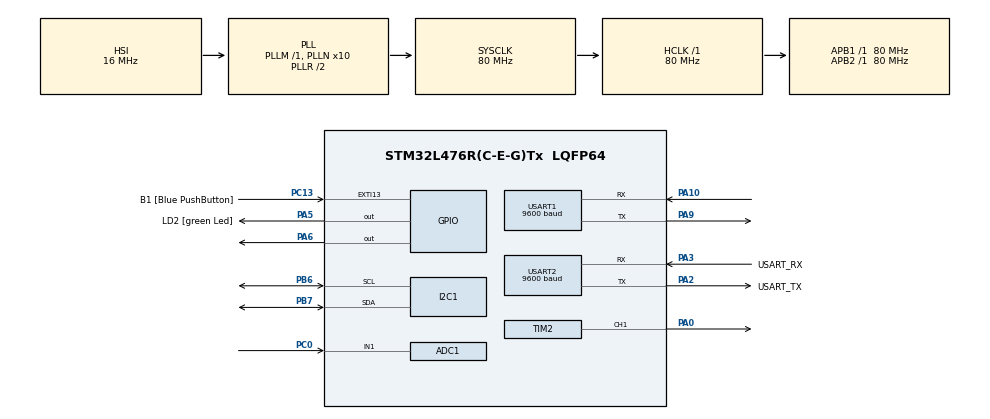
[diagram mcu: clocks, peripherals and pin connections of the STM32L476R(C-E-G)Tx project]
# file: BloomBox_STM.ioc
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ADC1.Channel-0\#ChannelRegularConversion=ADC_CHANNEL_1
ADC1.NbrOfConversionFlag=1
ADC1.OffsetNumber-0\#ChannelRegularConversion=ADC_OFFSET_NONE
ADC1.Rank-0\#ChannelRegularConversion=1
ADC1.SamplingTime-0\#ChannelRegularConversion=ADC_SAMPLETIME_2CYCLES_5
ADC1.master=1
Dma.Request0=TIM2_CH1
Dma.TIM2_CH1.0.Direction=DMA_MEMORY_TO_PERIPH
Dma.TIM2_CH1.0.Instance=DMA1_Channel5
Dma.TIM2_CH1.0.MemDataAlignment=DMA_MDATAALIGN_HALFWORD
Dma.TIM2_CH1.0.MemInc=DMA_MINC_ENABLE
Dma.TIM2_CH1.0.Mode=DMA_NORMAL
Dma.TIM2_CH1.0.PeriphDataAlignment=DMA_PDATAALIGN_WORD
Dma.TIM2_CH1.0.PeriphInc=DMA_PINC_DISABLE
Dma.TIM2_CH1.0.Priority=DMA_PRIORITY_LOW
I2C1.Timing=0x10909CEC
Mcu.Family=STM32L4
Mcu.Name=STM32L476R(C-E-G)Tx
Mcu.Package=LQFP64
NVIC.DMA1_Channel5_IRQn=true\:1\:0\:true\:false\:true\:false\:true
NVIC.PriorityGroup=NVIC_PRIORITYGROUP_4
NVIC.USART1_IRQn=true\:1\:0\:true\:false\:true\:true\:true
NVIC.USART2_IRQn=true\:1\:0\:true\:false\:true\:true\:true
PA0.Signal=S_TIM2_CH1
PA10.Mode=Asynchronous
PA10.Signal=USART1_RX
PA13\ (JTMS-SWDIO).GPIO_Label=TMS
PA13\ (JTMS-SWDIO).Mode=Serial_Wire
PA13\ (JTMS-SWDIO).Signal=SYS_JTMS-SWDIO
PA14\ (JTCK-SWCLK).GPIO_Label=TCK
PA14\ (JTCK-SWCLK).Mode=Serial_Wire
PA14\ (JTCK-SWCLK).Signal=SYS_JTCK-SWCLK
PA2.GPIO_Label=USART_TX
PA2.GPIO_Mode=GPIO_MODE_AF_PP
PA2.GPIO_PuPd=GPIO_NOPULL
PA2.GPIO_Speed=GPIO_SPEED_FREQ_VERY_HIGH
PA2.Mode=Asynchronous
PA2.Signal=USART2_TX
PA3.GPIO_Label=USART_RX
PA3.GPIO_Mode=GPIO_MODE_AF_PP
PA3.GPIO_PuPd=GPIO_NOPULL
PA3.GPIO_Speed=GPIO_SPEED_FREQ_VERY_HIGH
PA3.Mode=Asynchronous
PA3.Signal=USART2_RX
PA5.GPIO_Label=LD2 [green Led]
PA5.GPIO_ModeDefaultOutputPP=GPIO_MODE_OUTPUT_PP
PA5.GPIO_PuPd=GPIO_NOPULL
PA5.GPIO_Speed=GPIO_SPEED_FREQ_LOW
PA5.Signal=GPIO_Output
PA6.Signal=GPIO_Output
PA9.Mode=Asynchronous
PA9.Signal=USART1_TX
PB3\ (JTDO-TRACESWO).GPIO_Label=SWO
PB3\ (JTDO-TRACESWO).Signal=SYS_JTDO-SWO
PB6.Mode=I2C
PB6.Signal=I2C1_SCL
PB7.Mode=I2C
PB7.Signal=I2C1_SDA
PC0.Signal=ADCx_IN1
PC13.GPIO_Label=B1 [Blue PushButton]
PC13.GPIO_ModeDefaultEXTI=GPIO_MODE_IT_FALLING
PC13.GPIO_PuPd=GPIO_NOPULL
PC13.Signal=GPXTI13
PC14-OSC32_IN\ (PC14).Mode=LSE-External-Oscillator
PC14-OSC32_IN\ (PC14).Signal=RCC_OSC32_IN
PC15-OSC32_OUT\ (PC15).Mode=LSE-External-Oscillator
PC15-OSC32_OUT\ (PC15).Signal=RCC_OSC32_OUT
PH0-OSC_IN\ (PH0).Signal=RCC_OSC_IN
PH1-OSC_OUT\ (PH1).Signal=RCC_OSC_OUT
ProjectManager.HeapSize=0x200
ProjectManager.StackSize=0x400
ProjectManager.TargetToolchain=STM32CubeIDE
RCC.ADCFreq_Value=64000000
RCC.AHBFreq_Value=80000000
RCC.APB1Freq_Value=80000000
RCC.APB1TimFreq_Value=80000000
RCC.APB2Freq_Value=80000000
RCC.APB2TimFreq_Value=80000000
RCC.CortexFreq_Value=80000000
RCC.HCLKFreq_Value=80000000
RCC.HSE_VALUE=8000000
RCC.HSI_VALUE=16000000
RCC.MSI_VALUE=4000000
RCC.PLLN=10
RCC.PLLSourceVirtual=RCC_PLLSOURCE_HSI
RCC.PREFETCH_ENABLE=1
RCC.SYSCLKFreq_VALUE=80000000
RCC.SYSCLKSource=RCC_SYSCLKSOURCE_PLLCLK
RCC.USBFreq_Value=64000000
RCC.VCOOutputFreq_Value=160000000
SH.ADCx_IN1.0=ADC1_IN1,IN1-Single-Ended
SH.S_TIM2_CH1.0=TIM2_CH1,PWM Generation1 CH1
TIM2.Channel-PWM\ Generation1\ CH1=TIM_CHANNEL_1
TIM2.Period=79
USART1.BaudRate=9600
USART1.VirtualMode-Asynchronous=VM_ASYNC
USART2.BaudRate=9600
USART2.VirtualMode-Asynchronous=VM_ASYNC
VP_TIM2_VS_ClockSourceINT.Mode=Internal
board=NUCLEO-L476RG

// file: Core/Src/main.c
/* USER CODE BEGIN Header */
/**
  ******************************************************************************
  * @file           : main.c
  * @brief          : Main program body
  ******************************************************************************
  * @attention
  *
  * Copyright (c) 2022 STMicroelectronics.
  * All rights reserved.
  *
  * This software is licensed under terms that can be found in the LICENSE file
  * in the root directory of this software component.
  * If no LICENSE file comes with this software, it is provided AS-IS.
  *
  ******************************************************************************
  */
/* USER CODE END Header */
#include "main.h"

/* USER CODE BEGIN Includes */
//#include "sk6812.h"
#include <math.h>
#include "TSL2591.h"
/* USER CODE END Includes */

/* USER CODE BEGIN PD */
//#define MAX_LED 150 //actual max
#define MAX_LED 100
#define USE_BRIGHTNESS 1

/* USER CODE END PD */

ADC_HandleTypeDef hadc1;

I2C_HandleTypeDef hi2c1;

TIM_HandleTypeDef htim2;
DMA_HandleTypeDef hdma_tim2_ch1;

UART_HandleTypeDef huart1;
UART_HandleTypeDef huart2;

/* USER CODE BEGIN PV */
volatile int datasentflag = 0;
uint8_t LED_Data[MAX_LED][4];
uint8_t LED_Mod[MAX_LED][4];  // for brightness
uint8_t receive_word[5] = {0, 0, 0, 0, 0};
uint8_t send_word[5] = {0, 0, 0, 0, 0};
uint8_t empty_word[5] = {0, 0, 0, 0, 0};
uint8_t done_word[5] = "DONE\0";
uint32_t brightness = 0;
uint32_t new_brightness = 0;
uint32_t raw_moist = 0;
uint32_t raw_lux = 0;
uint8_t auto_brightness_flag = 1;
/* USER CODE END PV */

void SystemClock_Config(void);
static void MX_GPIO_Init(void);
static void MX_USART1_UART_Init(void);
static void MX_USART2_UART_Init(void);
static void MX_DMA_Init(void);
static void MX_TIM2_Init(void);
static void MX_ADC1_Init(void);
static void MX_I2C1_Init(void);

/* USER CODE BEGIN 0 */
void Set_LED (int LEDnum, int Red, int Green, int Blue)
{
	LED_Data[LEDnum][0] = LEDnum;
	LED_Data[LEDnum][1] = Green;
	LED_Data[LEDnum][2] = Red;
	LED_Data[LEDnum][3] = Blue;
}

#define PI 3.14159265

void Set_Brightness (int brightness)  // 0-45
{
#if USE_BRIGHTNESS

	if (brightness > 45) brightness = 45;
	for (int i=0; i<MAX_LED; i++)
	{
		LED_Mod[i][0] = LED_Data[i][0];
		for (int j=1; j<4; j++)
		{
			float angle = 90-brightness;  // in degrees
			angle = angle*PI / 180;  // in rad
			LED_Mod[i][j] = (LED_Data[i][j])/(tan(angle));
		}
	}

#endif
}
uint16_t pwmData[(24*MAX_LED)+50];

void WS2812_Send (void)
{
	uint32_t indx=0;
	uint32_t color;

	for (int i= 0; i<MAX_LED; i++){
	#if USE_BRIGHTNESS
		color = ((LED_Mod[i][1]<<16) | (LED_Mod[i][2]<<8) | (LED_Mod[i][3]));
	#else
		color = ((LED_Data[i][1]<<16) | (LED_Data[i][2]<<8) | (LED_Data[i][3]));
	#endif

		for (int i=23; i>=0; i--){
			if (color&(1<<i)){
				pwmData[indx] = 60;  // 2/3 of 90
			}else pwmData[indx] = 30;  // 1/3 of 90
			indx++;
		}
	}

	for (int i=0; i<50; i++){
		pwmData[indx] = 0;
		indx++;
	}

	HAL_TIM_PWM_Start_DMA(&htim2, TIM_CHANNEL_1, (uint32_t *)pwmData, indx);
	while (!datasentflag){};
	datasentflag = 0;
}

void HAL_TIM_PWM_PulseFinishedCallback(TIM_HandleTypeDef *htim)
{
	HAL_TIM_PWM_Stop_DMA(&htim2, TIM_CHANNEL_1);
	datasentflag=1;
}
/* USER CODE END 0 */

int main(void)
{

  /* MCU Configuration--------------------------------------------------------*/

  /* Reset of all peripherals, Initializes the Flash interface and the Systick. */
  HAL_Init();

  /* Configure the system clock */
  SystemClock_Config();

  /* Initialize all configured peripherals */
  MX_GPIO_Init();
  MX_USART1_UART_Init();
  MX_USART2_UART_Init();
  MX_DMA_Init();
  MX_TIM2_Init();
  MX_ADC1_Init();
  MX_I2C1_Init();
  /* USER CODE BEGIN 2 */
  //start the receive for the first word/message
  HAL_UART_Receive_IT(&huart1, receive_word, 5);

  //setup adc for moisture sensor readings
  HAL_ADC_Start(&hadc1);

  //setup light sensor
  DEV_ModuleInit();
  TSL2591_Init();

  //set all LEDs to blue/red (purple) combo
  int i;
  for (i=0; i<MAX_LED; i++){
	  Set_LED(i, 102, 0, 235);
	  i++;
  }
  brightness = 10;
  Set_Brightness(brightness);
  WS2812_Send();

  /* USER CODE END 2 */

  /* Infinite loop */
  while (1)
  {

    /* USER CODE BEGIN 3 */

	//**** MOISTURE SENSOR, ADC1 (PC0) SIMPLE READ ****//
	//start the ADC
	HAL_ADC_Start(&hadc1);
	//get raw data value from moisture sensor
	HAL_ADC_PollForConversion(&hadc1, 100);
	raw_moist = HAL_ADC_GetValue(&hadc1);

	//get raw data from ambient light sensor
	raw_lux = TSL2591_Read_Lux();
	TSL2591_SET_LuxInterrupt(50,200);

	//only carry out auto adjusting brightness if flag is high
	  if(auto_brightness_flag == 1){
		  //adjust LEDs if lux value is low (low-light)
		  if(raw_lux>60 && raw_lux <500){
			  new_brightness = 1;
		  }else if(raw_lux>45 && raw_lux <500){
			  new_brightness = 5;
		  }else if(raw_lux>30 && raw_lux <500){
			  new_brightness = 10;
		  }else if(raw_lux>15 && raw_lux <500){
			  new_brightness = 20;
		  }else{
			  new_brightness = 45;
		  }
	  }
	  //send new data to the lights if the brightness is updated
	  if(new_brightness != brightness){
		  brightness = new_brightness;
		  Set_Brightness(brightness);
		  WS2812_Send();
	  }
  }
  /* USER CODE END 3 */
}

void SystemClock_Config(void)
{
  RCC_OscInitTypeDef RCC_OscInitStruct = {0};
  RCC_ClkInitTypeDef RCC_ClkInitStruct = {0};

  /** Configure the main internal regulator output voltage
  */
  if (HAL_PWREx_ControlVoltageScaling(PWR_REGULATOR_VOLTAGE_SCALE1) != HAL_OK)
  {
    Error_Handler();
  }
  /** Initializes the RCC Oscillators according to the specified parameters
  * in the RCC_OscInitTypeDef structure.
  */
  RCC_OscInitStruct.OscillatorType = RCC_OSCILLATORTYPE_HSI;
  RCC_OscInitStruct.HSIState = RCC_HSI_ON;
  RCC_OscInitStruct.HSICalibrationValue = RCC_HSICALIBRATION_DEFAULT;
  RCC_OscInitStruct.PLL.PLLState = RCC_PLL_ON;
  RCC_OscInitStruct.PLL.PLLSource = RCC_PLLSOURCE_HSI;
  RCC_OscInitStruct.PLL.PLLM = 1;
  RCC_OscInitStruct.PLL.PLLN = 10;
  RCC_OscInitStruct.PLL.PLLP = RCC_PLLP_DIV7;
  RCC_OscInitStruct.PLL.PLLQ = RCC_PLLQ_DIV2;
  RCC_OscInitStruct.PLL.PLLR = RCC_PLLR_DIV2;
  if (HAL_RCC_OscConfig(&RCC_OscInitStruct) != HAL_OK)
  {
    Error_Handler();
  }
  /** Initializes the CPU, AHB and APB buses clocks
  */
  RCC_ClkInitStruct.ClockType = RCC_CLOCKTYPE_HCLK|RCC_CLOCKTYPE_SYSCLK
                              |RCC_CLOCKTYPE_PCLK1|RCC_CLOCKTYPE_PCLK2;
  RCC_ClkInitStruct.SYSCLKSource = RCC_SYSCLKSOURCE_PLLCLK;
  RCC_ClkInitStruct.AHBCLKDivider = RCC_SYSCLK_DIV1;
  RCC_ClkInitStruct.APB1CLKDivider = RCC_HCLK_DIV1;
  RCC_ClkInitStruct.APB2CLKDivider = RCC_HCLK_DIV1;

  if (HAL_RCC_ClockConfig(&RCC_ClkInitStruct, FLASH_LATENCY_4) != HAL_OK)
  {
    Error_Handler();
  }
}

static void MX_ADC1_Init(void)
{

  ADC_MultiModeTypeDef multimode = {0};
  ADC_ChannelConfTypeDef sConfig = {0};

  /** Common config
  */
  hadc1.Instance = ADC1;
  hadc1.Init.ClockPrescaler = ADC_CLOCK_ASYNC_DIV1;
  hadc1.Init.Resolution = ADC_RESOLUTION_12B;
  hadc1.Init.DataAlign = ADC_DATAALIGN_RIGHT;
  hadc1.Init.ScanConvMode = ADC_SCAN_DISABLE;
  hadc1.Init.EOCSelection = ADC_EOC_SINGLE_CONV;
  hadc1.Init.LowPowerAutoWait = DISABLE;
  hadc1.Init.ContinuousConvMode = DISABLE;
  hadc1.Init.NbrOfConversion = 1;
  hadc1.Init.DiscontinuousConvMode = DISABLE;
  hadc1.Init.ExternalTrigConv = ADC_SOFTWARE_START;
  hadc1.Init.ExternalTrigConvEdge = ADC_EXTERNALTRIGCONVEDGE_NONE;
  hadc1.Init.DMAContinuousRequests = DISABLE;
  hadc1.Init.Overrun = ADC_OVR_DATA_PRESERVED;
  hadc1.Init.OversamplingMode = DISABLE;
  if (HAL_ADC_Init(&hadc1) != HAL_OK)
  {
    Error_Handler();
  }
  /** Configure the ADC multi-mode
  */
  multimode.Mode = ADC_MODE_INDEPENDENT;
  if (HAL_ADCEx_MultiModeConfigChannel(&hadc1, &multimode) != HAL_OK)
  {
    Error_Handler();
  }
  /** Configure Regular Channel
  */
  sConfig.Channel = ADC_CHANNEL_1;
  sConfig.Rank = ADC_REGULAR_RANK_1;
  sConfig.SamplingTime = ADC_SAMPLETIME_2CYCLES_5;
  sConfig.SingleDiff = ADC_SINGLE_ENDED;
  sConfig.OffsetNumber = ADC_OFFSET_NONE;
  sConfig.Offset = 0;
  if (HAL_ADC_ConfigChannel(&hadc1, &sConfig) != HAL_OK)
  {
    Error_Handler();
  }

}

static void MX_I2C1_Init(void)
{

  hi2c1.Instance = I2C1;
  hi2c1.Init.Timing = 0x10909CEC;
  hi2c1.Init.OwnAddress1 = 0;
  hi2c1.Init.AddressingMode = I2C_ADDRESSINGMODE_7BIT;
  hi2c1.Init.DualAddressMode = I2C_DUALADDRESS_DISABLE;
  hi2c1.Init.OwnAddress2 = 0;
  hi2c1.Init.OwnAddress2Masks = I2C_OA2_NOMASK;
  hi2c1.Init.GeneralCallMode = I2C_GENERALCALL_DISABLE;
  hi2c1.Init.NoStretchMode = I2C_NOSTRETCH_DISABLE;
  if (HAL_I2C_Init(&hi2c1) != HAL_OK)
  {
    Error_Handler();
  }
  /** Configure Analogue filter
  */
  if (HAL_I2CEx_ConfigAnalogFilter(&hi2c1, I2C_ANALOGFILTER_ENABLE) != HAL_OK)
  {
    Error_Handler();
  }
  /** Configure Digital filter
  */
  if (HAL_I2CEx_ConfigDigitalFilter(&hi2c1, 0) != HAL_OK)
  {
    Error_Handler();
  }

}

static void MX_TIM2_Init(void)
{

  TIM_ClockConfigTypeDef sClockSourceConfig = {0};
  TIM_MasterConfigTypeDef sMasterConfig = {0};
  TIM_OC_InitTypeDef sConfigOC = {0};

  htim2.Instance = TIM2;
  htim2.Init.Prescaler = 0;
  htim2.Init.CounterMode = TIM_COUNTERMODE_UP;
  htim2.Init.Period = 79;
  htim2.Init.ClockDivision = TIM_CLOCKDIVISION_DIV1;
  htim2.Init.AutoReloadPreload = TIM_AUTORELOAD_PRELOAD_DISABLE;
  if (HAL_TIM_Base_Init(&htim2) != HAL_OK)
  {
    Error_Handler();
  }
  sClockSourceConfig.ClockSource = TIM_CLOCKSOURCE_INTERNAL;
  if (HAL_TIM_ConfigClockSource(&htim2, &sClockSourceConfig) != HAL_OK)
  {
    Error_Handler();
  }
  if (HAL_TIM_PWM_Init(&htim2) != HAL_OK)
  {
    Error_Handler();
  }
  sMasterConfig.MasterOutputTrigger = TIM_TRGO_RESET;
  sMasterConfig.MasterSlaveMode = TIM_MASTERSLAVEMODE_DISABLE;
  if (HAL_TIMEx_MasterConfigSynchronization(&htim2, &sMasterConfig) != HAL_OK)
  {
    Error_Handler();
  }
  sConfigOC.OCMode = TIM_OCMODE_PWM1;
  sConfigOC.Pulse = 0;
  sConfigOC.OCPolarity = TIM_OCPOLARITY_HIGH;
  sConfigOC.OCFastMode = TIM_OCFAST_DISABLE;
  if (HAL_TIM_PWM_ConfigChannel(&htim2, &sConfigOC, TIM_CHANNEL_1) != HAL_OK)
  {
    Error_Handler();
  }
  HAL_TIM_MspPostInit(&htim2);

}

static void MX_USART1_UART_Init(void)
{

  huart1.Instance = USART1;
  huart1.Init.BaudRate = 9600;
  huart1.Init.WordLength = UART_WORDLENGTH_8B;
  huart1.Init.StopBits = UART_STOPBITS_1;
  huart1.Init.Parity = UART_PARITY_NONE;
  huart1.Init.Mode = UART_MODE_TX_RX;
  huart1.Init.HwFlowCtl = UART_HWCONTROL_NONE;
  huart1.Init.OverSampling = UART_OVERSAMPLING_16;
  huart1.Init.OneBitSampling = UART_ONE_BIT_SAMPLE_DISABLE;
  huart1.AdvancedInit.AdvFeatureInit = UART_ADVFEATURE_NO_INIT;
  if (HAL_UART_Init(&huart1) != HAL_OK)
  {
    Error_Handler();
  }

}

static void MX_USART2_UART_Init(void)
{

  huart2.Instance = USART2;
  huart2.Init.BaudRate = 9600;
  huart2.Init.WordLength = UART_WORDLENGTH_8B;
  huart2.Init.StopBits = UART_STOPBITS_1;
  huart2.Init.Parity = UART_PARITY_NONE;
  huart2.Init.Mode = UART_MODE_TX_RX;
  huart2.Init.HwFlowCtl = UART_HWCONTROL_NONE;
  huart2.Init.OverSampling = UART_OVERSAMPLING_16;
  huart2.Init.OneBitSampling = UART_ONE_BIT_SAMPLE_DISABLE;
  huart2.AdvancedInit.AdvFeatureInit = UART_ADVFEATURE_NO_INIT;
  if (HAL_UART_Init(&huart2) != HAL_OK)
  {
    Error_Handler();
  }

}

static void MX_DMA_Init(void)
{

  /* DMA controller clock enable */
  __HAL_RCC_DMA1_CLK_ENABLE();

  /* DMA interrupt init */
  /* DMA1_Channel5_IRQn interrupt configuration */
  HAL_NVIC_SetPriority(DMA1_Channel5_IRQn, 1, 0);
  HAL_NVIC_EnableIRQ(DMA1_Channel5_IRQn);

}

static void MX_GPIO_Init(void)
{
  GPIO_InitTypeDef GPIO_InitStruct = {0};

  /* GPIO Ports Clock Enable */
  __HAL_RCC_GPIOC_CLK_ENABLE();
  __HAL_RCC_GPIOH_CLK_ENABLE();
  __HAL_RCC_GPIOA_CLK_ENABLE();
  __HAL_RCC_GPIOB_CLK_ENABLE();

  /*Configure GPIO pin Output Level */
  HAL_GPIO_WritePin(GPIOA, LD2_Pin|GPIO_PIN_6, GPIO_PIN_RESET);

  /*Configure GPIO pin : B1_Pin */
  GPIO_InitStruct.Pin = B1_Pin;
  GPIO_InitStruct.Mode = GPIO_MODE_IT_FALLING;
  GPIO_InitStruct.Pull = GPIO_NOPULL;
  HAL_GPIO_Init(B1_GPIO_Port, &GPIO_InitStruct);

  /*Configure GPIO pins : LD2_Pin PA6 */
  GPIO_InitStruct.Pin = LD2_Pin|GPIO_PIN_6;
  GPIO_InitStruct.Mode = GPIO_MODE_OUTPUT_PP;
  GPIO_InitStruct.Pull = GPIO_NOPULL;
  GPIO_InitStruct.Speed = GPIO_SPEED_FREQ_LOW;
  HAL_GPIO_Init(GPIOA, &GPIO_InitStruct);

}

/* USER CODE BEGIN 4 */
uint32_t raw = 0;
uint8_t ths, hund, tens, ones;
uint32_t val;
//UART handling ESP->STM
//called when something is received (via interrupt receive)
void HAL_UART_RxCpltCallback(UART_HandleTypeDef *huart){
	//data just received is in receive_word[5]
	//Handle GET/SEND requests
	if(receive_word[0] == 'G'){ //if first char of buf is G, it is a GET REQUEST
		raw = 0;
		if(receive_word[1] == 'M'){ //GET MOISTURE SENSOR VAL
			//return moisture sensor value in 4 bytes
			raw = raw_moist;
		}else if(receive_word[1] == 'L'){
			if(receive_word[2] == 'U' && receive_word[3] == 'X'){//GET AMBIENT LIGHT SENSOR VAL
				//return ambient light sensor val in 4 bytes
				raw = raw_lux;
			}else if(receive_word[2] == 'E' && receive_word[3] == 'D'){
				//return cur brightness val in 4 bytes
				raw = brightness;
			}
		}
		//turn raw 32_bit num into string
		send_word[0] = raw/1000 + 48;
		send_word[1] = (raw%1000)/100 + 48;
		send_word[2] = (raw%100)/10 + 48;
		send_word[3] = raw%10 + 48;
		//send back the requested data
		HAL_UART_Transmit_IT(&huart1, send_word, 5);

	}else if(receive_word[0] == 'S'){ //if first char of buf is S, it is a SEND REQUEST
		if(receive_word[1] == 'W'){ //SEND WATER COMMANDS
			if(receive_word[2] == 'O' && receive_word[3] == 'N'){ //WATER ON
				HAL_GPIO_WritePin(GPIOA, GPIO_PIN_6, GPIO_PIN_SET);
				HAL_UART_Transmit_IT(&huart1, done_word, 5);
			}else if(receive_word[2] == 'O' && receive_word[3] == 'F'){ //WATER OFF
				HAL_GPIO_WritePin(GPIOA, GPIO_PIN_6, GPIO_PIN_RESET);
				HAL_UART_Transmit_IT(&huart1, done_word, 5);
			}
//			else{
//				HAL_GPIO_TogglePin(GPIOA, GPIO_PIN_6);
//				HAL_UART_Transmit_IT(&huart1, done_word, 5);
//			}

		}else if(receive_word[1] == 'L'){ //SEND LED COMMANDS
			if(receive_word[2] == 'M'){ //MODE SETTING COMMANDS
				if(receive_word[3] == 'M'){ //MANUAL MODE
					auto_brightness_flag = 0;
					HAL_UART_Transmit_IT(&huart1, done_word, 5);
				}else if(receive_word[3] == 'A'){ //AUTOMATIC MODE
					auto_brightness_flag = 1;
					HAL_UART_Transmit_IT(&huart1, done_word, 5);
				}
			}else{ //SET BRIGHTNESS COMMAND
				//adjust the brightness of the LED's to the last 2 bytes of buf
				if(auto_brightness_flag == 0){
					tens = receive_word[2] - 48;
					ones = receive_word[3] - 48;
					val = tens*10 + ones;
					new_brightness = val;
				}
				HAL_UART_Transmit_IT(&huart1, done_word, 5);
			}
		}
	}else{
		//if valid command isn't received, send back an empty word
		HAL_UART_Transmit_IT(&huart1, empty_word, 5); //send back the response
	}

}

//called when something is sent (via interrupt transmit)
void HAL_UART_TxCpltCallback(UART_HandleTypeDef *huart){
	HAL_UART_Receive_IT(&huart1, receive_word, 5); //start the receive for the next word
}

/* USER CODE END 4 */

void Error_Handler(void)
{
  __disable_irq();
  while (1)
  {
  }
}
